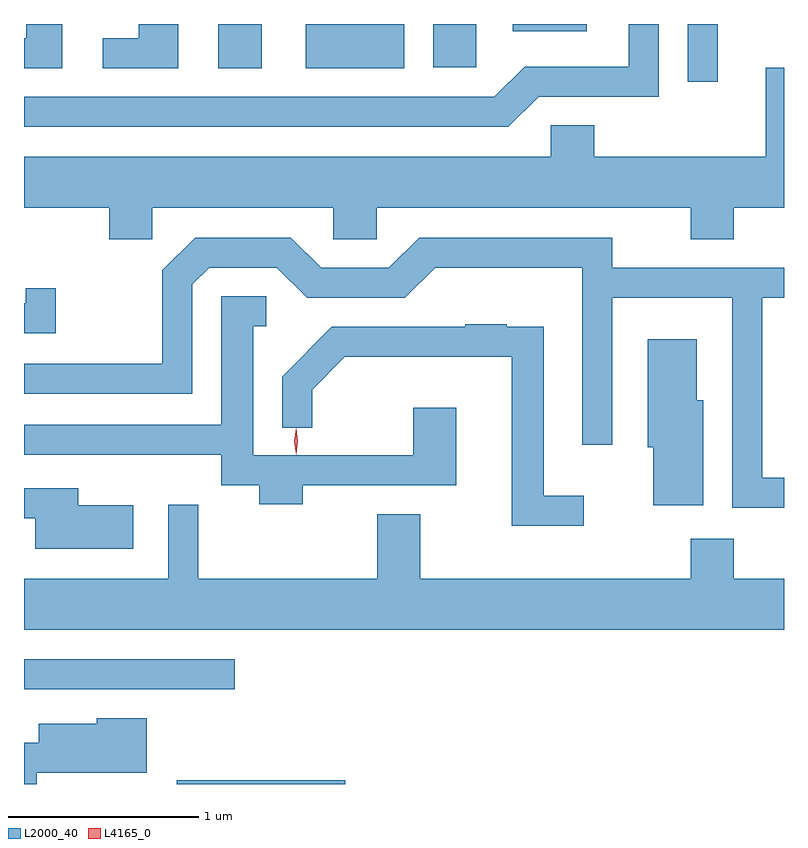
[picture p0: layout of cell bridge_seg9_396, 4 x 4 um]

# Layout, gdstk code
import gdstk
lib = gdstk.Library(unit=1e-6, precision=1e-09)
def R(c, l, rs):  # rectangles x0, y0, x1, y1
    for r in rs: c.add(gdstk.rectangle(r[:2], r[2:], *l))
def P(c, l, *ps):  # polygons
    for p in ps: c.add(gdstk.Polygon(p, *l))
L2000_40 = (2000, 40)
L4165_0 = (4165, 0)

bridge_seg9_396 = lib.new_cell('bridge_seg9_396')
R(bridge_seg9_396, L2000_40, [(465.866,2022.083,466.754,2022.104), (465.063,2022.581,466.173,2022.739), (468.556,2025.778,468.714,2026.083), (466.086,2025.851,466.314,2026.083), (466.546,2025.851,467.064,2026.083), (467.216,2025.856,467.444,2026.083), (467.636,2026.046,468.024,2026.083)])
P(bridge_seg9_396, L2000_40, [(465.874,2026.083),(465.666,2026.083),(465.666,2026.009),(465.478,2026.009),(465.478,2025.851),(465.874,2025.851)],
  [(465.264,2026.083),(465.076,2026.083),(465.076,2026.009),(465.063,2026.009),(465.063,2025.851),(465.264,2025.851)],
  [(467.772,2025.701),(468.404,2025.701),(468.404,2026.083),(468.246,2026.083),(468.246,2025.859),(467.699,2025.859),(467.539,2025.699),(465.063,2025.699),(465.063,2025.541),(467.612,2025.541)],
  [(465.739,2025.116),(466.691,2025.116),(466.691,2024.951),(466.919,2024.951),(466.919,2025.116),(468.571,2025.116),(468.571,2024.951),(468.799,2024.951),(468.799,2025.116),(469.063,2025.116),(469.063,2025.854),(468.966,2025.854),(468.966,2025.384),(468.064,2025.384),(468.064,2025.549),(467.836,2025.549),(467.836,2025.384),(465.063,2025.384),(465.063,2025.116),(465.511,2025.116),(465.511,2024.951),(465.739,2024.951)],
  [(469.063,2023.694),(468.949,2023.694),(468.949,2024.641),(469.063,2024.641),(469.063,2024.799),(468.159,2024.799),(468.159,2024.959),(467.144,2024.959),(466.984,2024.799),(466.627,2024.799),(466.467,2024.959),(465.964,2024.959),(465.791,2024.787),(465.791,2024.294),(465.063,2024.294),(465.063,2024.136),(465.949,2024.136),(465.949,2024.714),(466.037,2024.801),(466.394,2024.801),(466.554,2024.641),(467.067,2024.641),(467.227,2024.801),(468.001,2024.801),(468.001,2023.868),(468.159,2023.868),(468.159,2024.641),(468.791,2024.641),(468.791,2023.536),(469.063,2023.536)],
  [(465.229,2024.693),(465.071,2024.693),(465.071,2024.614),(465.063,2024.614),(465.063,2024.456),(465.229,2024.456)],
  [(466.529,2023.656),(467.339,2023.656),(467.339,2024.064),(467.111,2024.064),(467.111,2023.814),(466.269,2023.814),(466.269,2024.491),(466.338,2024.491),(466.338,2024.649),(466.101,2024.649),(466.101,2023.974),(465.063,2023.974),(465.063,2023.816),(466.101,2023.816),(466.101,2023.656),(466.301,2023.656),(466.301,2023.556),(466.529,2023.556)],
  [(468.008,2023.599),(467.799,2023.599),(467.799,2024.489),(467.605,2024.489),(467.605,2024.504),(467.385,2024.504),(467.385,2024.489),(466.684,2024.489),(466.421,2024.227),(466.421,2023.958),(466.579,2023.958),(466.579,2024.159),(466.752,2024.331),(467.631,2024.331),(467.631,2023.441),(468.008,2023.441)],
  [(468.639,2024.104),(468.604,2024.104),(468.604,2024.424),(468.346,2024.424),(468.346,2023.856),(468.376,2023.856),(468.376,2023.551),(468.639,2023.551)],
  [(465.639,2023.549),(465.349,2023.549),(465.349,2023.639),(465.063,2023.639),(465.063,2023.481),(465.121,2023.481),(465.121,2023.321),(465.639,2023.321)],
  [(469.063,2023.164),(468.799,2023.164),(468.799,2023.374),(468.571,2023.374),(468.571,2023.164),(467.149,2023.164),(467.149,2023.504),(466.921,2023.504),(466.921,2023.164),(465.979,2023.164),(465.979,2023.553),(465.821,2023.553),(465.821,2023.164),(465.063,2023.164),(465.063,2022.896),(469.063,2022.896)],
  [(465.129,2022.141),(465.709,2022.141),(465.709,2022.429),(465.446,2022.429),(465.446,2022.399),(465.141,2022.399),(465.141,2022.299),(465.063,2022.299),(465.063,2022.083),(465.129,2022.083)])
P(bridge_seg9_396, L4165_0, [(466.495,2023.817),(466.495,2023.818),(466.485,2023.887),(466.495,2023.956),(466.495,2023.957),(466.496,2023.956),(466.505,2023.887),(466.496,2023.818)])

lib.write_gds('bridge_seg9_396.gds')
